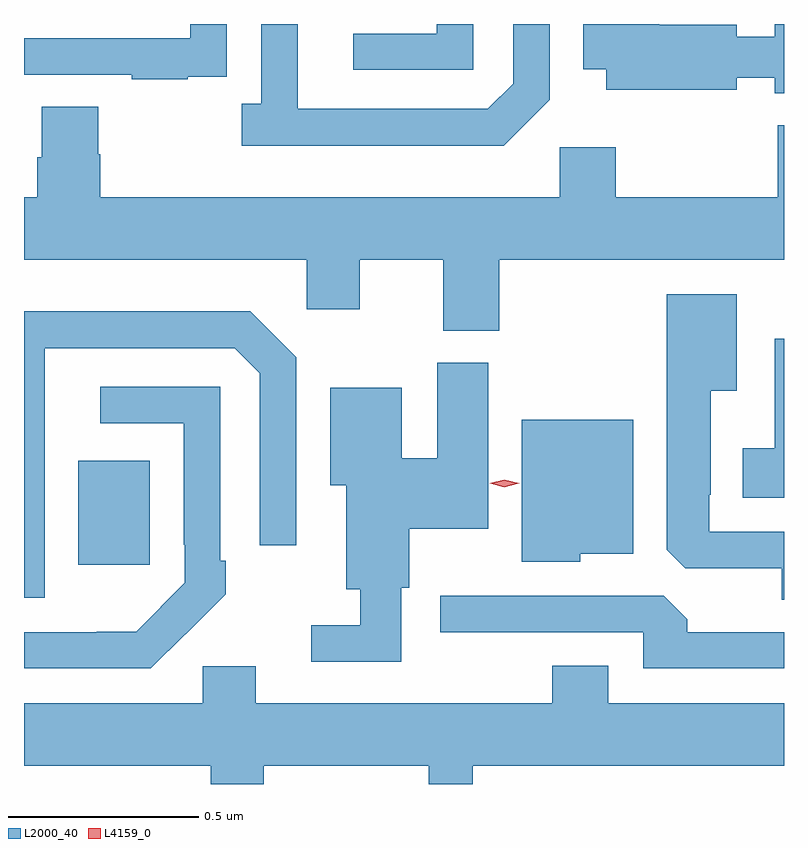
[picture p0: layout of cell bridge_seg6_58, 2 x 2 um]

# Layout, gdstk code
import gdstk
lib = gdstk.Library(unit=1e-6, precision=1e-09)
def R(c, l, rs):  # rectangles x0, y0, x1, y1
    for r in rs: c.add(gdstk.rectangle(r[:2], r[2:], *l))
def P(c, l, *ps):  # polygons
    for p in ps: c.add(gdstk.Polygon(p, *l))
L2000_40 = (2000, 40)
L4159_0 = (4159, 0)

bridge_seg6_58 = lib.new_cell('bridge_seg6_58')
R(bridge_seg6_58, L2000_40, [(1083.053,985.161,1083.241,985.435)])
P(bridge_seg6_58, L2000_40, [(1084.092,986.584),(1083.996,986.584),(1083.996,986.559),(1083.777,986.559),(1083.777,986.463),(1084.092,986.463)],
  [(1083.341,986.445),(1083.443,986.445),(1083.443,986.554),(1083.444,986.554),(1083.444,986.584),(1083.348,986.584),(1083.348,986.547),(1082.91,986.547),(1082.91,986.451),(1083.193,986.451),(1083.193,986.439),(1083.341,986.439)],
  [(1084.293,986.385),(1084.293,986.584),(1084.197,986.584),(1084.197,986.427),(1084.131,986.361),(1083.631,986.361),(1083.631,986.561),(1083.63,986.561),(1083.63,986.584),(1083.534,986.584),(1083.534,986.374),(1083.483,986.374),(1083.483,986.264),(1084.172,986.264)],
  [(1084.91,986.584),(1084.886,986.584),(1084.886,986.551),(1084.786,986.551),(1084.786,986.582),(1084.582,986.582),(1084.582,986.584),(1084.382,986.584),(1084.382,986.465),(1084.442,986.465),(1084.442,986.411),(1084.786,986.411),(1084.786,986.442),(1084.886,986.442),(1084.886,986.402),(1084.91,986.402)],
  [(1084.161,985.964),(1084.91,985.964),(1084.91,986.317),(1084.894,986.317),(1084.894,986.128),(1084.467,986.128),(1084.467,986.26),(1084.32,986.26),(1084.32,986.128),(1083.11,986.128),(1083.11,986.241),(1083.105,986.241),(1083.105,986.366),(1082.957,986.366),(1082.957,986.234),(1082.945,986.234),(1082.945,986.128),(1082.91,986.128),(1082.91,985.964),(1083.654,985.964),(1083.654,985.833),(1083.793,985.833),(1083.793,985.964),(1084.013,985.964),(1084.013,985.777),(1084.161,985.777)],
  [(1084.91,985.248),(1084.713,985.248),(1084.713,985.345),(1084.717,985.345),(1084.717,985.619),(1084.786,985.619),(1084.786,985.873),(1084.601,985.873),(1084.601,985.201),(1084.65,985.152),(1084.904,985.152),(1084.904,985.069),(1084.91,985.069)],
  [(1082.964,985.531),(1082.965,985.531),(1082.965,985.731),(1083.465,985.731),(1083.531,985.665),(1083.531,985.212),(1083.627,985.212),(1083.627,985.707),(1083.506,985.828),(1082.91,985.828),(1082.91,985.074),(1082.964,985.074)],
  [(1084.91,985.756),(1084.886,985.756),(1084.886,985.468),(1084.802,985.468),(1084.802,985.337),(1084.91,985.337)],
  [(1083.903,985.101),(1083.924,985.101),(1083.924,985.256),(1084.132,985.256),(1084.132,985.692),(1083.998,985.692),(1083.998,985.441),(1083.904,985.441),(1083.904,985.627),(1083.716,985.627),(1083.716,985.37),(1083.758,985.37),(1083.758,985.097),(1083.795,985.097),(1083.795,985.002),(1083.666,985.002),(1083.666,984.906),(1083.903,984.906)],
  [(1083.335,984.979),(1083.336,984.978),(1083.441,985.083),(1083.441,985.171),(1083.426,985.171),(1083.426,985.629),(1083.111,985.629),(1083.111,985.533),(1083.33,985.533),(1083.33,985.213),(1083.333,985.213),(1083.333,985.113),(1083.205,984.985),(1083.101,984.985),(1083.101,984.984),(1082.91,984.984),(1082.91,984.888),(1083.244,984.888)],
  [(1084.374,985.19),(1084.513,985.19),(1084.513,985.543),(1084.22,985.543),(1084.22,985.169),(1084.374,985.169)],
  [(1084.91,984.984),(1084.655,984.984),(1084.655,985.018),(1084.593,985.08),(1084.005,985.08),(1084.005,984.984),(1084.539,984.984),(1084.539,984.888),(1084.91,984.888)],
  [(1083.541,984.632),(1083.975,984.632),(1083.975,984.584),(1084.091,984.584),(1084.091,984.632),(1084.91,984.632),(1084.91,984.796),(1084.447,984.796),(1084.447,984.895),(1084.3,984.895),(1084.3,984.796),(1083.52,984.796),(1083.52,984.894),(1083.381,984.894),(1083.381,984.796),(1082.91,984.796),(1082.91,984.632),(1083.401,984.632),(1083.401,984.584),(1083.541,984.584)])
P(bridge_seg6_58, L4159_0, [(1084.174,985.365),(1084.136,985.375),(1084.136,985.375),(1084.136,985.376),(1084.174,985.385),(1084.213,985.375),(1084.213,985.375),(1084.213,985.375)])

lib.write_gds('bridge_seg6_58.gds')
